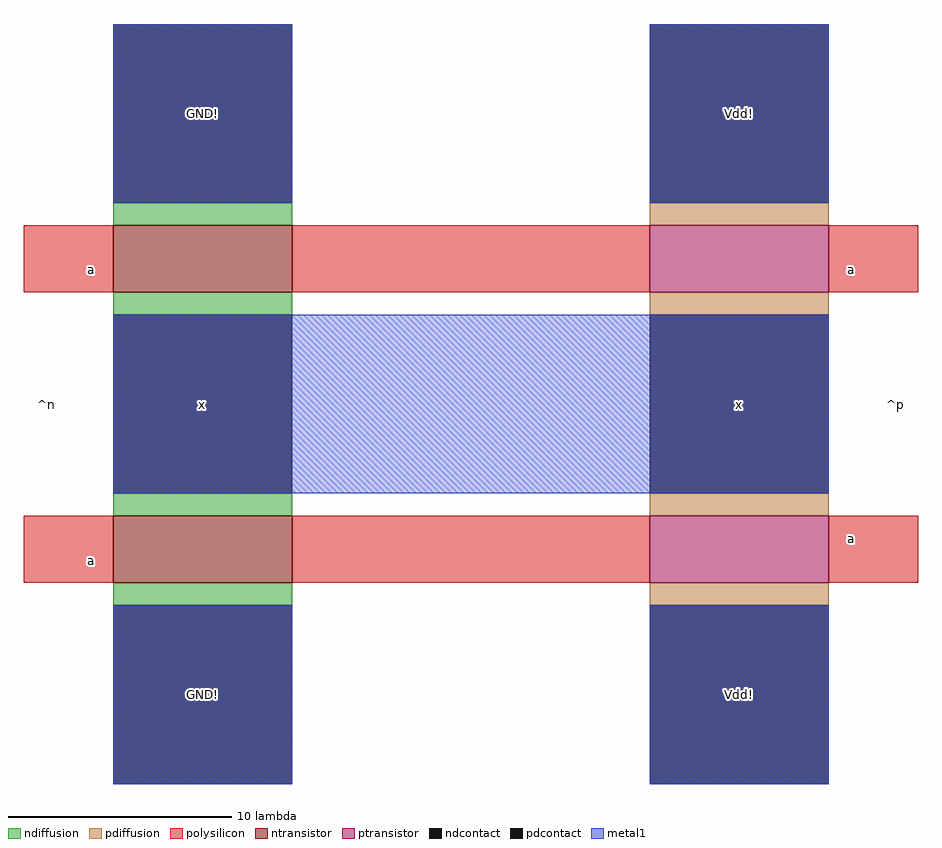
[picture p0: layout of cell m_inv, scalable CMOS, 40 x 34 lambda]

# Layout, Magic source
magic
tech scmos
<< ndiffusion >>
rect 96 570 104 571
rect 96 566 104 567
rect 96 557 104 558
rect 96 553 104 554
<< pdiffusion >>
rect 120 570 128 571
rect 120 566 128 567
rect 120 557 128 558
rect 120 553 128 554
<< ntransistor >>
rect 96 567 104 570
rect 96 554 104 557
<< ptransistor >>
rect 120 567 128 570
rect 120 554 128 557
<< polysilicon >>
rect 92 567 96 570
rect 104 567 120 570
rect 128 567 132 570
rect 92 554 96 557
rect 104 554 120 557
rect 128 554 132 557
<< ndcontact >>
rect 96 571 104 579
rect 96 558 104 566
rect 96 545 104 553
<< pdcontact >>
rect 120 571 128 579
rect 120 558 128 566
rect 120 545 128 553
<< metal1 >>
rect 96 571 104 579
rect 120 571 128 579
rect 96 558 128 566
rect 96 545 104 553
rect 120 545 128 553
<< labels >>
rlabel ndcontact 100 562 100 562 1 x
rlabel pdcontact 124 562 124 562 1 x
rlabel polysilicon 129 568 129 568 7 a
rlabel polysilicon 129 556 129 556 7 a
rlabel ndcontact 100 549 100 549 1 GND!
rlabel pdcontact 124 549 124 549 1 Vdd!
rlabel pdcontact 124 575 124 575 5 Vdd!
rlabel ndcontact 100 575 100 575 5 GND!
rlabel space 90 545 96 579 7 ^n
rlabel space 128 545 134 579 3 ^p
rlabel polysilicon 95 568 95 568 3 a
rlabel polysilicon 95 555 95 555 3 a
<< end >>
